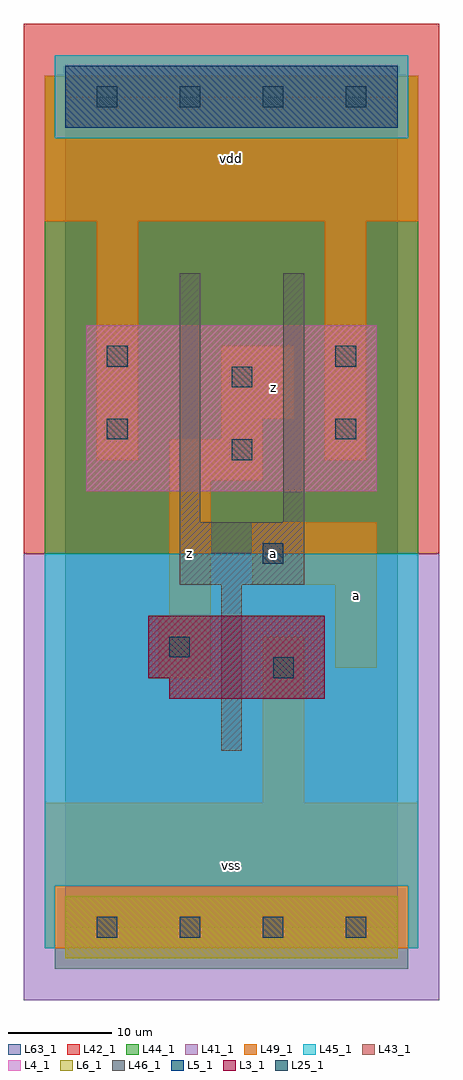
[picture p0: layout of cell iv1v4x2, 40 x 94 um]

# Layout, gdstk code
import gdstk
lib = gdstk.Library(unit=1e-6, precision=1e-09)
def R(c, l, rs):  # rectangles x0, y0, x1, y1
    for r in rs: c.add(gdstk.rectangle(r[:2], r[2:], *l))
def A(c, l, x, y, w, h, nx, ny, dx, dy):  # array of equal rectangles
    R(c, l, [(x+i*dx, y+j*dy, x+i*dx+w, y+j*dy+h) for i in range(nx) for j in range(ny)])
L3_1 = (3, 1)
L4_1 = (4, 1)
L5_1 = (5, 1)
L6_1 = (6, 1)
L25_1 = (25, 1)
L41_1 = (41, 1)
L42_1 = (42, 1)
L43_1 = (43, 1)
L44_1 = (44, 1)
L45_1 = (45, 1)
L46_1 = (46, 1)
L49_1 = (49, 1)
L63_1 = (63, 1)

iv1v4x2 = lib.new_cell('iv1v4x2')
R(iv1v4x2, L3_1, [(10,22,25,24), (8,24,25,30)])
R(iv1v4x2, L4_1, [(2,42,30,58)])
R(iv1v4x2, L5_1, [(0,77,32,83)])
R(iv1v4x2, L6_1, [(0,-3,32,3), (0,-3,32,3)])
A(iv1v4x2, L25_1, 3, -1, 2, 2, 4, 2, 8, 80)
R(iv1v4x2, L25_1, [(20,24,22,26), (10,26,12,28), (19,35,21,37), (16,45,18,47), (4,47,6,49), (26,47,28,49), (16,52,18,54), (4,54,6,56), (26,54,28,56)])
R(iv1v4x2, L41_1, [(-4,-7,36,36)])
R(iv1v4x2, L42_1, [(-4,36,36,87)])
R(iv1v4x2, L43_1, [(0,-3,32,3), (10,22,25,24), (8,24,25,30), (2,42,30,58), (0,77,32,83)])
R(iv1v4x2, L44_1, [(-1,-4,33,4), (-2,36,34,76), (-2,76,-1,82), (33,76,34,82)])
R(iv1v4x2, L45_1, [(-2,-2,-1,4), (33,-2,34,4), (-2,4,34,36), (-1,76,33,84)])
R(iv1v4x2, L46_1, [(15,17,17,33), (11,33,23,39), (11,39,13,63), (21,39,23,63)])
R(iv1v4x2, L49_1, [(-2,-2,34,12), (19,12,23,28), (9,24,14,30), (26,25,30,33), (10,30,14,43), (18,33,30,39), (10,43,19,47), (3,45,7,68), (25,45,29,68), (15,47,19,49), (15,49,22,56), (-2,68,34,82)])
R(iv1v4x2, L63_1, [(0,0,32,80)])
iv1v4x2.add(gdstk.Label('z', (12,36), layer=49, texttype=1))
iv1v4x2.add(gdstk.Label('vss', (16,6), layer=49, texttype=1))
iv1v4x2.add(gdstk.Label('a', (20,36), layer=49, texttype=1))
iv1v4x2.add(gdstk.Label('z', (20,52), layer=49, texttype=1))
iv1v4x2.add(gdstk.Label('vdd', (16,74), layer=49, texttype=1))
iv1v4x2.add(gdstk.Label('a', (28,32), layer=49, texttype=1))

lib.write_gds('iv1v4x2.gds')
